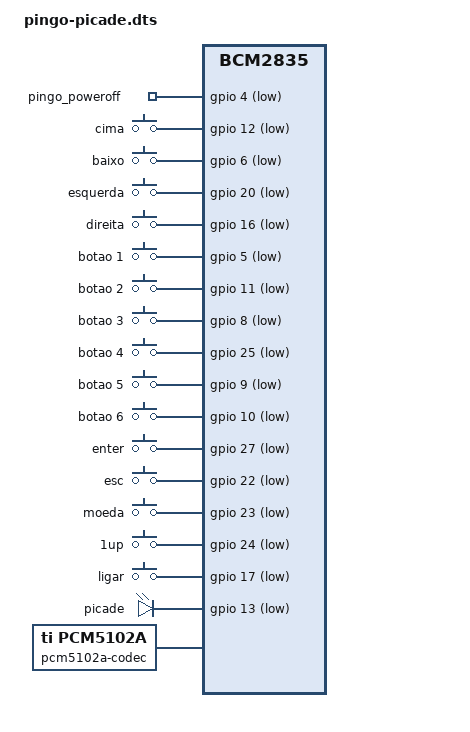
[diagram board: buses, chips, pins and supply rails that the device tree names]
// SPDX-License-Identifier: GPL-2.0-only
/*
 * Pingo Arcade: Pimoroni Picade X HAT na Raspberry Pi.
 *
 * Joystick e botões viram teclas (gpio-keys); o botão de ligar manda
 * KEY_POWER e, no desligamento, o GPIO 4 avisa a placa para cortar a
 * energia. Som: DAC PCM5102A no I2S. Como o GPIO 20 (PCM_DIN) é o
 * "esquerda" do joystick, o I2S usa o 26 no lugar (a placa não grava som).
 *
 * Pinos (BCM), todos ativos em nível baixo com pull-up:
 *   joystick  cima 12, baixo 6, esquerda 20, direita 16
 *   botões    1:5  2:11  3:8  4:25  5:9  6:10
 *   ENT 27, ESC 22, moeda 23, 1UP 24, ligar 17; LED 13
 *
 * Teclas: as do MAME (setas, Ctrl, Alt, espaço, Shift, Z, X; 5 = moeda,
 * 1 = start), para que um teclado USB funcione igual.
 */
/dts-v1/;
/plugin/;

/ {
	compatible = "brcm,bcm2835";

	fragment@0 {
		target = <&gpio>;
		__overlay__ {
			pingo_keys_pins: pingo_keys_pins {
				brcm,pins =     <17 5 6 8 9 10 11 12 16 20 22 23 24 25 27>;
				brcm,function = <0>;   /* entrada */
				brcm,pull =     <2>;   /* pull-up */
			};
			pingo_i2s_pins: pingo_i2s_pins {
				brcm,pins = <18 19 26 21>;
				brcm,function = <4>;   /* ALT0: PCM */
			};
		};
	};

	fragment@1 {
		target-path = "/";
		__overlay__ {
			pingo_poweroff {
				compatible = "gpio-poweroff";
				gpios = <&gpio 4 1>;
				force;
			};

			pingo_keys {
				compatible = "gpio-keys";
				label = "Picade";
				pinctrl-names = "default";
				pinctrl-0 = <&pingo_keys_pins>;

				cima     { label = "cima";     linux,code = <103>; gpios = <&gpio 12 1>; };
				baixo    { label = "baixo";    linux,code = <108>; gpios = <&gpio 6 1>; };
				esquerda { label = "esquerda"; linux,code = <105>; gpios = <&gpio 20 1>; };
				direita  { label = "direita";  linux,code = <106>; gpios = <&gpio 16 1>; };
				b1 { label = "botao 1"; linux,code = <29>; gpios = <&gpio 5 1>; };  /* Ctrl */
				b2 { label = "botao 2"; linux,code = <56>; gpios = <&gpio 11 1>; }; /* Alt */
				b3 { label = "botao 3"; linux,code = <57>; gpios = <&gpio 8 1>; };  /* espaço */
				b4 { label = "botao 4"; linux,code = <42>; gpios = <&gpio 25 1>; }; /* Shift */
				b5 { label = "botao 5"; linux,code = <44>; gpios = <&gpio 9 1>; };  /* Z */
				b6 { label = "botao 6"; linux,code = <45>; gpios = <&gpio 10 1>; }; /* X */
				ent    { label = "enter"; linux,code = <28>; gpios = <&gpio 27 1>; };
				esc    { label = "esc";   linux,code = <1>;  gpios = <&gpio 22 1>; };
				moeda  { label = "moeda"; linux,code = <6>;  gpios = <&gpio 23 1>; }; /* 5 */
				start  { label = "1up";   linux,code = <2>;  gpios = <&gpio 24 1>; }; /* 1 */
				ligar  { label = "ligar"; linux,code = <116>; gpios = <&gpio 17 1>; }; /* KEY_POWER */
			};

			pingo_led {
				compatible = "gpio-leds";
				led {
					label = "picade";
					gpios = <&gpio 13 1>;
					linux,default-trigger = "default-on";
				};
			};

			/* o nome importa: o rpi-simple-soundcard (hifiberry-dac) procura
			 * o codec pelo dispositivo "pcm5102a-codec" */
			pcm5102a-codec {
				#sound-dai-cells = <0>;
				compatible = "ti,pcm5102a";
			};
		};
	};

	fragment@2 {
		target = <&i2s_clk_consumer>;
		__overlay__ {
			status = "okay";
			pinctrl-names = "default";
			pinctrl-0 = <&pingo_i2s_pins>;
		};
	};

	fragment@3 {
		target = <&sound>;
		__overlay__ {
			compatible = "hifiberry,hifiberry-dac";
			i2s-controller = <&i2s_clk_consumer>;
			status = "okay";
		};
	};
};
